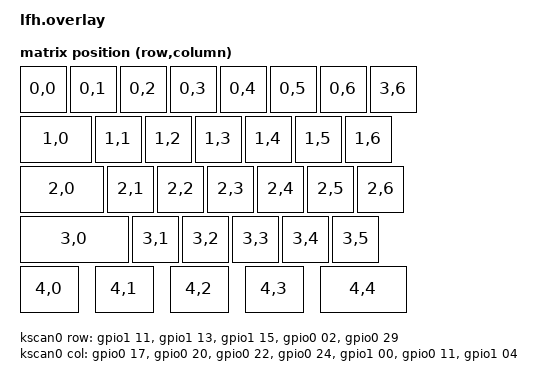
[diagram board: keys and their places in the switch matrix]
#include <dt-bindings/zmk/matrix_transform.h>
#include <physical_layouts.dtsi>
#include <zephyr/dt-bindings/pinctrl/nrf-pinctrl.h> /*for display*/

/ {
    chosen {
        zmk,kscan = &kscan0;
        zmk,physical-layout = &physical_layout;
        zephyr,display = &oled;
    };

    kscan0: kscan {
        compatible = "zmk,kscan-gpio-matrix";
        wakeup-source;
        diode-direction = "col2row";

        /* Rows (inputs) */
        row-gpios = <&gpio1 11 (GPIO_ACTIVE_HIGH | GPIO_PULL_DOWN)>, 
                    <&gpio1 13 (GPIO_ACTIVE_HIGH | GPIO_PULL_DOWN)>,
                    <&gpio1 15 (GPIO_ACTIVE_HIGH | GPIO_PULL_DOWN)>,
                    <&gpio0 02 (GPIO_ACTIVE_HIGH | GPIO_PULL_DOWN)>,
                    <&gpio0 29 (GPIO_ACTIVE_HIGH | GPIO_PULL_DOWN)>;

        /* Columns (drives) */
        col-gpios = <&gpio0 17  GPIO_ACTIVE_HIGH>,
                    <&gpio0 20 GPIO_ACTIVE_HIGH>,
                    <&gpio0 22 GPIO_ACTIVE_HIGH>,
                    <&gpio0 24 GPIO_ACTIVE_HIGH>,
                    <&gpio1 00 GPIO_ACTIVE_HIGH>,
                    <&gpio0 11 GPIO_ACTIVE_HIGH>,
                    <&gpio1 04 GPIO_ACTIVE_HIGH>;
    };

    default_transform: matrix_transform {
        compatible = "zmk,matrix-transform";
        rows = <5>;
        columns = <7>;

        map = <
            RC(0,0) RC(0,1) RC(0,2) RC(0,3) RC(0,4) RC(0,5) RC(0,6) RC(3,6)
            RC(1,0) RC(1,1) RC(1,2) RC(1,3) RC(1,4) RC(1,5) RC(1,6)
            RC(2,0) RC(2,1) RC(2,2) RC(2,3) RC(2,4) RC(2,5) RC(2,6)
            RC(3,0) RC(3,1) RC(3,2) RC(3,3) RC(3,4) RC(3,5)
            RC(4,0) RC(4,1) RC(4,2) RC(4,3) RC(4,4)
        >;
    };

    physical_layout: physical_layout {
        compatible = "zmk,physical-layout";
        display-name = "Default Layout";
        
        transform = <&default_transform>;
        
        kscan = <&kscan0>;
        
        keys  //                     w   h    x    y     rot    rx    ry
            = <&key_physical_attrs 100 100    0    0       0     0     0>
            , <&key_physical_attrs 100 100  100    0       0     0     0>
            , <&key_physical_attrs 100 100  200    0       0     0     0>
            , <&key_physical_attrs 100 100  300    0       0     0     0>
            , <&key_physical_attrs 100 100  400    0       0     0     0>
            , <&key_physical_attrs 100 100  500    0       0     0     0>
            , <&key_physical_attrs 100 100  600    0       0     0     0>
            , <&key_physical_attrs 100 100  700    0       0     0     0>
            , <&key_physical_attrs 150 100    0  100       0     0     0>
            , <&key_physical_attrs 100 100  150  100       0     0     0>
            , <&key_physical_attrs 100 100  250  100       0     0     0>
            , <&key_physical_attrs 100 100  350  100       0     0     0>
            , <&key_physical_attrs 100 100  450  100       0     0     0>
            , <&key_physical_attrs 100 100  550  100       0     0     0>
            , <&key_physical_attrs 100 100  650  100       0     0     0>
            , <&key_physical_attrs 175 100    0  200       0     0     0>
            , <&key_physical_attrs 100 100  175  200       0     0     0>
            , <&key_physical_attrs 100 100  275  200       0     0     0>
            , <&key_physical_attrs 100 100  375  200       0     0     0>
            , <&key_physical_attrs 100 100  475  200       0     0     0>
            , <&key_physical_attrs 100 100  575  200       0     0     0>
            , <&key_physical_attrs 100 100  675  200       0     0     0>
            , <&key_physical_attrs 225 100    0  300       0     0     0>
            , <&key_physical_attrs 100 100  225  300       0     0     0>
            , <&key_physical_attrs 100 100  325  300       0     0     0>
            , <&key_physical_attrs 100 100  425  300       0     0     0>
            , <&key_physical_attrs 100 100  525  300       0     0     0>
            , <&key_physical_attrs 100 100  625  300       0     0     0>
            , <&key_physical_attrs 125 100    0  400       0     0     0>
            , <&key_physical_attrs 125 100  150  400       0     0     0>
            , <&key_physical_attrs 125 100  300  400       0     0     0>
            , <&key_physical_attrs 125 100  450  400       0     0     0>
            , <&key_physical_attrs 180 100  600  400       0     0     0>
            ;
    };
};

&pinctrl {
    i2c1_default: i2c1_default {
        group1 {
            psels = <NRF_PSEL(TWIM_SDA, 0, 6)>,   /* P0.06 - replace with your SDA pin */
                    <NRF_PSEL(TWIM_SCL, 0, 8)>;    /* P0.07 - replace with your SCL pin */
        };
    };

    i2c1_sleep: i2c1_sleep {
        group1 {
            psels = <NRF_PSEL(TWIM_SDA, 0, 6)>,
                    <NRF_PSEL(TWIM_SCL, 0, 8)>;
            low-power-enable;
        };
    };
};

&i2c1 {
    compatible = "nordic,nrf-twim";
    status = "okay";
    pinctrl-0 = <&i2c0_default>;
    pinctrl-1 = <&i2c0_sleep>;
    pinctrl-names = "default", "sleep";
    clock-frequency = <I2C_BITRATE_STANDARD>;

    oled: ssd1306@3c {
        compatible = "solomon,ssd1306fb";
        reg = <0x3c>;
        width = <128>;
        height = <32>;
        segment-offset = <0>;
        page-offset = <0>;
        display-offset = <0>;
        multiplex-ratio = <31>;
        segment-remap;
        inversion-on;
        prechargep = <0x22>;
    };
};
